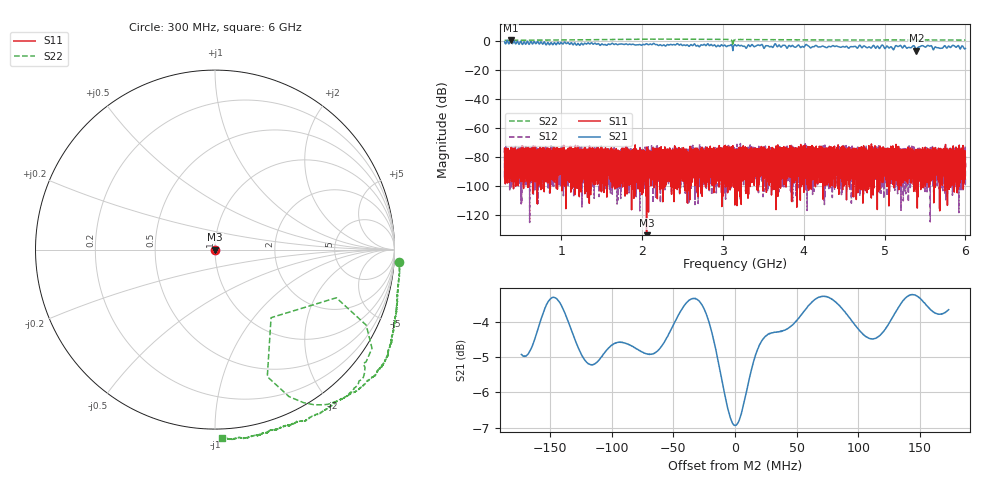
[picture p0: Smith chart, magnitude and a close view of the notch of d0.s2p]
!Agilent Technologies,N5230C,SG49000117,A.08.50.07
!Agilent N5230C: A.08.50.07
!Date: Sunday, March 17, 2024 08:59:21
!Correction: S11(Off)
!S21(Off)
!S12(Off)
!S22(Full 1 Port(2))
!S2P File: Measurements: S11, S21, S12, S22:
# Hz S  RI  R 50
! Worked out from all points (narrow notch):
!   20001 points, 300 MHz to 6 GHz, reference 50 ohm
!   highest |S21| = 0.48 dB at 374.7 MHz (marker M1); lowest = -6.9 dB at 5.393 GHz (marker M2)
!   notch at M2: 3.7 dB deep, 28.9 MHz wide at half that depth
!   lowest |S11| = -134.8 dB at 2.056 GHz (marker M3), VSWR 1.00, Z = 50 - j1.47e-05 ohm
!   |S11| at or under -10 dB: start of sweep to end of sweep
!   |S22| runs from -6.2 to 1.1 dB; largest |S21 - S12| = 1.1
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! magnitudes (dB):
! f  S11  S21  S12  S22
! 300 MHz  -76.5  -0.9  -93.8  0.2
! 329.1 MHz  -80.3  0.1  -87.2  0.2
! 374.7 MHz  -81.8  0.5  -94.9  0.3
! 1.25 GHz  -83.3  -1.7  -96.9  0.6
! 2.056 GHz  -134.8  -2.1  -78.5  1.1
! 2.2 GHz  -85.4  -3.3  -81.3  1.1
! 3.15 GHz  -83.8  -2.7  -81.2  0.7
! 3.275 GHz  -91.7  -4.2  -84.4  0.8
! 3.462 GHz  -83.0  -3.3  -80.1  0.7
! 3.599 GHz  -80.2  -3.8  -92.3  0.7
! 3.665 GHz  -77.1  -3.6  -90.7  0.7
! 3.98 GHz  -97.0  -3.9  -80.0  0.5
! 4.039 GHz  -83.0  -2.9  -79.1  0.5
! 4.1 GHz  -82.0  -4.3  -87.5  0.5
! 5.05 GHz  -77.4  -4.9  -93.7  0.5
! 5.102 GHz  -83.1  -5.9  -75.8  0.5
! 5.176 GHz  -75.4  -3.8  -81.7  0.5
! 5.393 GHz  -91.4  -6.9  -78.9  0.5
! 5.554 GHz  -85.6  -3.7  -86.3  0.5
! 5.619 GHz  -79.0  -4.8  -84.5  0.5
! 5.852 GHz  -78.2  -3.2  -85.5  0.5
! 6 GHz  -84.7  -5.4  -79.7  0.5
